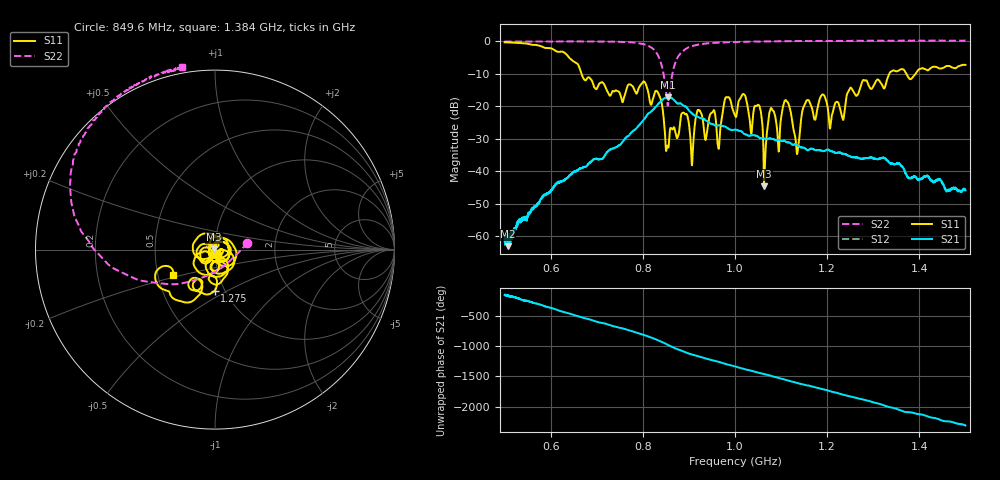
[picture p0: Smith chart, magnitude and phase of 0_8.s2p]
!Keysight Technologies,N5242B,MY48420860,A.13.80.08
!Date: Saturday, September 26, 2020 11:32:26
!Correction: S11(Full 2 Port(1,2))
!S21(Full 2 Port(1,2))
!S12(Full 2 Port(1,2))
!S22(Full 2 Port(1,2))
!S2P File: Measurements: S11, S21, S12, S22:
# Hz S  dB  R 50
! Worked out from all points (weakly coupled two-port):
!   2650 points, 500 MHz to 1.5 GHz, reference 50 ohm
!   highest |S21| = -17.17 dB at 854.1 MHz (marker M1); lowest = -63.1 dB at 506.8 MHz (marker M2)
!   lowest |S11| = -44.7 dB at 1.063 GHz (marker M3), VSWR 1.01, Z = 49.5 + j0.207 ohm
!   |S11| at or under -10 dB: 667 MHz to 1.335 GHz (667.7 MHz wide, 66.7 % of centre); 1.372 GHz to 1.392 GHz (19.89 MHz wide, 1.44 % of centre)
!   |S22| runs from -19.9 to 0.3 dB; largest |S21 - S12| = 0.00049
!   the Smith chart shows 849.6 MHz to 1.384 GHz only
!   S11 on the Smith chart (normalised r, x): 849.6 MHz: 1.02, -0.04; 1.275 GHz: 0.90, -0.43; 1.384 GHz: 0.60, -0.18
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5e8  -0.25 -166.3  -61.31 -160.9  -62.01 -160.2  -0.03 147.2
5.06795e8  -0.29 -169.8  -63.14 -170.0  -60.78 -175.9  -0.00 146.9
6.038128e8  -2.29 127.0  -45.36 -20.8  -45.44 -21.2  -0.00 138.9
6.668554e8  -9.96 70.0  -39.08 -168.4  -39.10 -168.8  -0.00 132.6
8.337108e8  -16.03 -17.3  -19.20 172.7  -19.22 172.7  -4.52 64.3
8.495659e8  -32.44 -66.3  -17.39 115.9  -17.40 115.8  -14.69 12.2
8.540959e8  -32.22 -21.6  -17.17 99.0  -17.19 98.9  -19.85 -48.9
8.94866e8  -22.36 -10.1  -20.28 -31.3  -20.29 -31.4  -2.15 168.9
9.065685e8  -38.21 174.7  -22.17 -60.3  -22.18 -60.5  -1.43 160.9
9.205361e8  -21.26 -14.6  -23.27 -89.9  -23.29 -89.8  -0.97 154.3
1.000189e9  -22.87 -96.8  -27.18 103.4  -27.22 103.4  -0.17 135.4
1.051151e9  -19.58 -167.4  -29.51 -2.1  -29.53 -2.4  -0.04 128.8
1.062854e9  -44.69 158.9  -29.95 -22.6  -29.96 -22.7  0.02 127.8
1.078709e9  -20.52 -146.5  -30.00 -54.0  -30.01 -54.1  0.04 126.0
1.094564e9  -33.66 -168.8  -30.32 -85.8  -30.33 -85.9  0.06 124.6
1.113062e9  -18.56 147.2  -31.06 -124.6  -31.06 -124.8  0.08 122.7
1.134957e9  -34.74 65.1  -32.01 -169.1  -31.96 -169.3  0.12 120.9
1.166667e9  -20.38 -67.6  -33.06 133.7  -33.08 133.4  0.13 118.1
1.275009e9  -12.82 -90.5  -36.21 -76.4  -36.26 -76.1  0.19 109.3
1.333522e9  -10.43 -112.2  -37.13 156.3  -37.18 156.6  0.27 104.4
1.384485e9  -11.23 -149.4  -42.02 63.1  -42.02 62.4  0.27 100.2
1.5e9  -7.22 165.4  -45.94 -148.5  -46.09 -145.6  0.26 90.5
